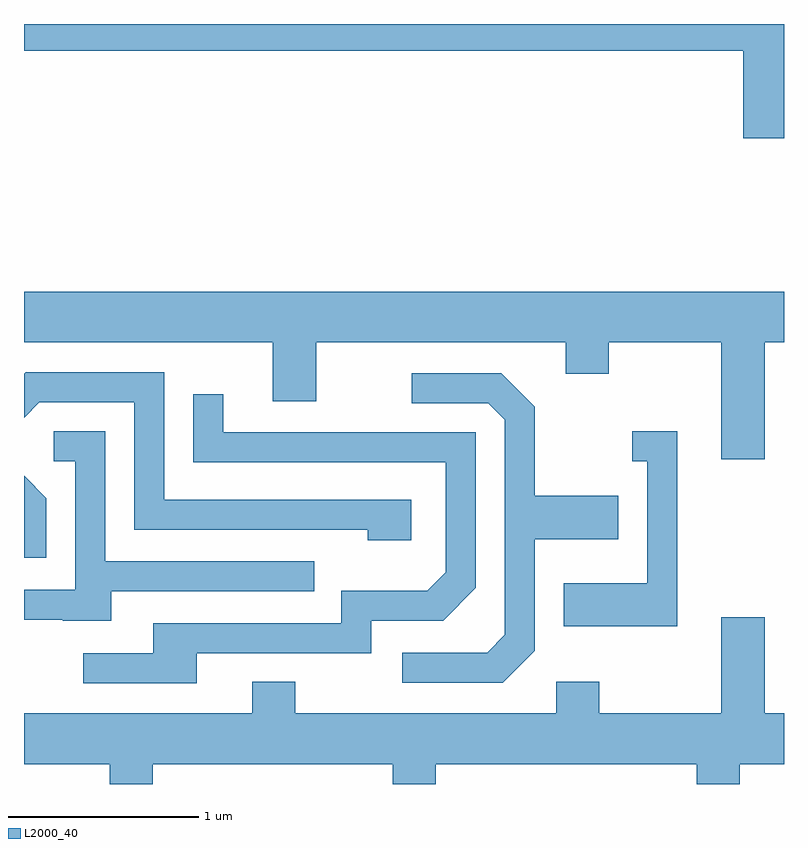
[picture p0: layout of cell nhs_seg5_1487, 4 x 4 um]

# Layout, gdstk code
import gdstk
lib = gdstk.Library(unit=1e-6, precision=1e-09)
def P(c, l, *ps):  # polygons
    for p in ps: c.add(gdstk.Polygon(p, *l))
L2000_40 = (2000, 40)

nhs_seg5_1487 = lib.new_cell('nhs_seg5_1487')
P(nhs_seg5_1487, L2000_40, [(233.611,1414.072),(229.611,1414.072),(229.611,1413.931),(233.396,1413.931),(233.396,1413.471),(233.611,1413.471)],
  [(233.509,1412.396),(233.611,1412.396),(233.611,1412.664),(229.611,1412.664),(229.611,1412.396),(230.921,1412.396),(230.921,1412.086),(231.149,1412.086),(231.149,1412.396),(232.461,1412.396),(232.461,1412.231),(232.689,1412.231),(232.689,1412.396),(233.281,1412.396),(233.281,1411.781),(233.509,1411.781)],
  [(231.649,1411.569),(230.349,1411.569),(230.349,1412.239),(229.619,1412.239),(229.611,1412.231),(229.611,1412),(229.692,1412.081),(230.191,1412.081),(230.191,1411.411),(231.421,1411.411),(231.421,1411.356),(231.649,1411.356)],
  [(232.299,1410.774),(232.299,1411.361),(232.739,1411.361),(232.739,1411.589),(232.299,1411.589),(232.299,1412.057),(232.122,1412.234),(231.653,1412.234),(231.653,1412.076),(232.054,1412.076),(232.141,1411.989),(232.141,1410.857),(232.049,1410.764),(231.603,1410.764),(231.603,1410.606),(232.132,1410.606)],
  [(230.519,1410.761),(231.439,1410.761),(231.439,1410.931),(231.817,1410.931),(231.989,1411.104),(231.989,1411.924),(230.659,1411.924),(230.659,1412.123),(230.501,1412.123),(230.501,1411.766),(231.831,1411.766),(231.831,1411.187),(231.734,1411.089),(231.281,1411.089),(231.281,1410.919),(230.291,1410.919),(230.291,1410.759),(229.923,1410.759),(229.923,1410.601),(230.519,1410.601)],
  [(233.049,1411.929),(232.813,1411.929),(232.813,1411.771),(232.891,1411.771),(232.891,1411.129),(232.451,1411.129),(232.451,1410.901),(233.049,1410.901)],
  [(230.069,1411.086),(231.138,1411.086),(231.138,1411.244),(230.039,1411.244),(230.039,1411.929),(229.768,1411.929),(229.768,1411.771),(229.881,1411.771),(229.881,1411.094),(229.611,1411.094),(229.611,1410.936),(229.815,1410.936),(229.815,1410.931),(230.069,1410.931)],
  [(229.729,1411.577),(229.611,1411.695),(229.611,1411.263),(229.729,1411.263)],
  [(230.289,1410.176),(231.551,1410.176),(231.551,1410.072),(231.779,1410.072),(231.779,1410.176),(233.151,1410.176),(233.151,1410.072),(233.379,1410.072),(233.379,1410.176),(233.611,1410.176),(233.611,1410.444),(233.509,1410.444),(233.509,1410.949),(233.281,1410.949),(233.281,1410.444),(232.639,1410.444),(232.639,1410.609),(232.411,1410.609),(232.411,1410.444),(231.039,1410.444),(231.039,1410.609),(230.811,1410.609),(230.811,1410.444),(229.611,1410.444),(229.611,1410.176),(230.061,1410.176),(230.061,1410.072),(230.289,1410.072)])

lib.write_gds('nhs_seg5_1487.gds')
